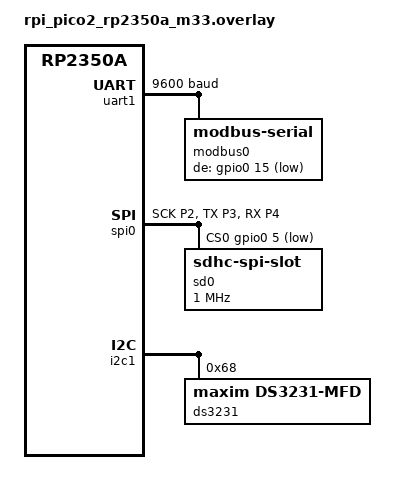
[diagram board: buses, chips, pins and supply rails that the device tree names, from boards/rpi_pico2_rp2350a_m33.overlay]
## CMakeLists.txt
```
# Generated Cmake Pico project file

cmake_minimum_required(VERSION 3.13)

set(CMAKE_C_STANDARD 11)
set(CMAKE_CXX_STANDARD 17)
set(CMAKE_EXPORT_COMPILE_COMMANDS ON)

# Initialise pico_sdk from installed location
# (note this can come from environment, CMake cache etc)

# == DO NOT EDIT THE FOLLOWING LINES for the Raspberry Pi Pico VS Code Extension to work ==
if(WIN32)
    set(USERHOME $ENV{USERPROFILE})
else()
    set(USERHOME $ENV{HOME})
endif()
set(sdkVersion 2.2.0)
set(toolchainVersion 14_2_Rel1)
set(picotoolVersion 2.2.0-a4)
set(picoVscode ${USERHOME}/.pico-sdk/cmake/pico-vscode.cmake)
if(EXISTS ${picoVscode})
    include(${picoVscode})
endif()
# ====================================================================================
set(PICO_BOARD pico CACHE STRING "Board type")

# Pull in Raspberry Pi Pico SDK (must be before project)
include(pico_sdk_import.cmake)

project(smart_meter LANGUAGES C CXX ASM)

# Initialise the Raspberry Pi Pico SDK
pico_sdk_init()

# Add executable. Default name is the project name, version 0.1


set(SMART_METER_ROOT_DIR ${CMAKE_CURRENT_SOURCE_DIR})


set(FREERTOS_KERNEL_PATH "${SMART_METER_ROOT_DIR}/third_party/FreeRTOS-Kernel")

set(FREERTOS_CONFIG_FILE_DIRECTORY "${SMART_METER_ROOT_DIR}/include" CACHE STRING "Local Config")

if(PICO_PLATFORM STREQUAL "rp2040")
    include(${FREERTOS_KERNEL_PATH}/portable/ThirdParty/GCC/RP2040/FreeRTOS_Kernel_import.cmake)
elseif(PICO_PLATFORM STREQUAL "rp2350-arm-s")
    include(${FREERTOS_KERNEL_PATH}/portable/ThirdParty/GCC/RP2350_ARM_NTZ/FreeRTOS_Kernel_import.cmake)
endif()

target_link_libraries(FreeRTOS-Kernel INTERFACE pico_stdlib hardware_clocks cmsis_core)

target_sources(FreeRTOS-Kernel INTERFACE ${SMART_METER_ROOT_DIR}/src/platforms/freertos_port.c)

add_subdirectory(${SMART_METER_ROOT_DIR}/third_party/FreeRTOS-FAT-CLI-for-RPi-Pico/src/FreeRTOS+FAT+CLI ${CMAKE_BINARY_DIR}/FreeRTOS-FAT-CLI-for-RPi-Pico/src/FreeRTOS+FAT+CLI)

add_subdirectory(${SMART_METER_ROOT_DIR}/third_party/memcpy_smart_ptr ${CMAKE_BINARY_DIR}/third_party/memcpy_smart_ptr)
add_subdirectory(src)

add_executable(${PROJECT_NAME} ${CMAKE_CURRENT_SOURCE_DIR}/src/smart_meter.cpp)

target_link_libraries(${PROJECT_NAME} PRIVATE
    pico_stdlib
    smt_utils
    fat_sd_card
    rtc
    pzem004t
    memcpy_smart_ptr
)

target_include_directories(${PROJECT_NAME} PUBLIC
    ${SMART_METER_ROOT_DIR}/include
)

#output options
pico_enable_stdio_usb(${PROJECT_NAME} 1)
pico_enable_stdio_uart(${PROJECT_NAME} 1)

#ouputs .bin, .elf, .uf2 files
pico_add_extra_outputs(${PROJECT_NAME})

set(CMAKE_EXE_LINKER_FLAGS "${CMAKE_EXE_LINKER_FLAGS} -Wl,--print-memory-usage")
```

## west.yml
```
manifest:
  # lowest version of the manifest file schema that can parse this file’s data
  version: 1.2
  remotes:
    - name: zephyrproject-rtos
      url-base: https://github.com/zephyrproject-rtos
  projects:
    - name: zephyr
      remote: zephyrproject-rtos
      revision: v4.3.0
      import:
        path-prefix: third_party
        file: west.yml
        name-allowlist:
          - cmsis
          - cmsis_6
          - hal_rpi_pico
          - fatfs
  self:
    path: smart_meter
```

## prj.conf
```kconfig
# Logging
CONFIG_LOG=y
CONFIG_LOG_DEFAULT_LEVEL=3

# Kernel
CONFIG_MAIN_STACK_SIZE=10240

# Peripherals
CONFIG_GPIO=y
CONFIG_SERIAL=y
CONFIG_SPI=y
CONFIG_I2C=y

# Serial
CONFIG_UART_INTERRUPT_DRIVEN=y
CONFIG_UART_LINE_CTRL=n

# Subsystems
CONFIG_MODBUS=y
CONFIG_SENSOR=y
CONFIG_SHELL=y

# Modbus
CONFIG_CRC=y
CONFIG_MODBUS_BUFFER_SIZE=256
CONFIG_MODBUS_ROLE_CLIENT=y
CONFIG_MODBUS_FP_EXTENSIONS=y
CONFIG_MODBUS_NONCOMPLIANT_SERIAL_MODE=y
CONFIG_MODBUS_RAW_ADU=y

# SD Card
CONFIG_DISK_DRIVER_SDMMC=y

# File System
CONFIG_FILE_SYSTEM=y
CONFIG_FAT_FILESYSTEM_ELM=y
CONFIG_FS_FATFS_LFN=y
CONFIG_FS_FATFS_LFN_MODE_STACK=y
CONFIG_FS_FATFS_MAX_LFN=50

# RTC
CONFIG_MFD_DS3231=y
CONFIG_RTC=y
CONFIG_RTC_DS3231=y

# Sensors
CONFIG_SENSOR_DS3231=y
CONFIG_PZEM004T=y
CONFIG_PZEM004T_ENABLE_RESET_ENERGY=y

# Shell
CONFIG_LOG_CMDS=y
CONFIG_THREAD_NAME=y


# Build System
CONFIG_NO_OPTIMIZATIONS=y
CONFIG_PICOLIBC=y
CONFIG_PICOLIBC_IO_FLOAT=y

# Debugging
CONFIG_KERNEL_SHELL=y
CONFIG_THREAD_NAME=y
CONFIG_THREAD_RUNTIME_STATS=y
CONFIG_THREAD_RUNTIME_STATS_USE_TIMING_FUNCTIONS=y

# Smart Meter
CONFIG_DATE_SHELL=y
CONFIG_BOOT_BANNER_STRING="Starting Switches Smart Meter"
CONFIG_SHELL_PROMPT_UART="switches:~$ "
```

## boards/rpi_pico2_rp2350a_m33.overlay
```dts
/ {
	aliases {
		modbus0 = &modbus0;
	};
};

&uart1 {
	status = "okay";
	current-speed = <9600>;
	modbus0: modbus0 {
		compatible = "zephyr,modbus-serial";
		status = "okay";
		de-gpios = <&gpio0 15 GPIO_ACTIVE_LOW>;	/* D9 */

		pzem: pzem004t {
			compatible = "peacefair,pzem004t";
			status = "okay";
			label = "PZEM004T";
		};
	};
};

&pinctrl {
	spi0_sdcard_pin: spi0_sdcard_pin {
		group1 {
			pinmux = <SPI0_SCK_P2>, <SPI0_TX_P3>;
		};

		group2 {
			pinmux = <SPI0_RX_P4>;
			input-enable;
		};
	};

	i2c1_default: i2c1_default {
		group1 {
			pinmux = <I2C1_SDA_P6>, <I2C1_SCL_P7>;
			input-enable;
			input-schmitt-enable;
		};
	};
	uart0_default: uart0_default {
		group1 {
			pinmux = <UART0_TX_P0>;
		};

		group2 {
			pinmux = <UART0_RX_P1>;
			input-enable;
		};
	};

	uart1_default: uart1_default {
		group1 {
			pinmux = <UART1_TX_P8>;
		};

		group2 {
			pinmux = <UART1_RX_P9>;
			input-enable;
		};
	};

};


&spi0{
	status = "okay";
	pinctrl-0 = <&spi0_sdcard_pin>;
	pinctrl-names = "default";
	// Check if active low or high
	cs-gpios = <&gpio0 5 GPIO_ACTIVE_LOW>;

	sdhc0: sdhc@0 {
		compatible = "zephyr,sdhc-spi-slot";
		reg = <0>;
		status = "okay";
		label = "sd0";
		mmc {
			compatible = "zephyr,sdmmc-disk";
			status = "okay";
			disk-name = "sd0";
		};
		spi-max-frequency = <1000000>;
	};
};


&i2c1 {
	status = "okay";
	pinctrl-0 = <&i2c1_default>;
	pinctrl-names = "default";

	ds3231: ds3231@68 {
		compatible = "maxim,ds3231-mfd";
		reg = <0x68>;
		status = "okay";

		ds3231_sensor: ds3231_sensor {
			compatible = "maxim,ds3231-sensor";
			status = "okay";
		};

		ds3231_rtc: ds3231_rtc {
			compatible = "maxim,ds3231-rtc";
			status = "okay";
			isw-gpios = <&gpio0 25 (GPIO_PULL_UP | GPIO_ACTIVE_LOW)>;
			// freq-32khz-gpios = <&gpio0 33 (GPIO_PULL_UP | GPIO_ACTIVE_LOW)>;
		};
	};
};
```

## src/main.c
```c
#include "zephyr/logging/log_core.h"
#include <stdio.h>
#include <zephyr/kernel.h>
#include <zephyr/drivers/gpio.h>
#include <zephyr/modbus/modbus.h>
#include <zephyr/logging/log.h>

#include <zephyr/fs/fs.h>
#include <ff.h>

#include <zephyr/drivers/rtc.h>
#include <zephyr/sys/util.h>
#include <zephyr/drivers/sensor.h>
#include <zephyr/drivers/sensor/pzem004t.h>
#include <zephyr/storage/disk_access.h>


#define METER_TO_JSON_FORMAT ("\n=BEGIN={\"voltage\":%0.4f,\"current\": %0.4f,\"power\": %0.4f,\"energy\": %0.4f,\"freq\": %0.4f,\"pf\": %0.4f,\"timestamp\": \"%04d-%02d-%02dT%02d:%02d:%02d\"}==END==\n")

const struct device *const rtc = DEVICE_DT_GET(DT_NODELABEL(ds3231_rtc));

LOG_MODULE_REGISTER(smart_meter, LOG_LEVEL_INF);

/* 1000 msec = 1 sec */
#define SLEEP_TIME_MS 1000

/* The devicetree node identifier for the "led0" alias. */
#define LED0_NODE DT_ALIAS(led0)

static const struct gpio_dt_spec led = GPIO_DT_SPEC_GET(LED0_NODE, gpios);
static const struct device *pzem = DEVICE_DT_GET(DT_NODELABEL(pzem));

static FATFS fat_fs;
/* mounting info */
static struct fs_mount_t mp = {
	.type = FS_FATFS,
	.fs_data = &fat_fs,
};

/*
 *  Note the fatfs library is able to mount only strings inside _VOLUME_STRS
 *  in ffconf.h
 */
static const char *disk_mount_pt = "/sd0:";

static int mount_sd_card(void)
{
	/* raw disk i/o */
	static const char *disk_pdrv = "sd0";
	uint64_t memory_size_mb;
	uint32_t block_count;
	uint32_t block_size;

	if (disk_access_init(disk_pdrv) != 0)
	{
		LOG_ERR("Storage init ERROR!");
		return -1;
	}

	mp.mnt_point = disk_mount_pt;

	int res = fs_mount(&mp);

	if (res == FR_OK)
	{
		LOG_INF("Disk mounted.\n");
	}
	else
	{
		LOG_ERR("Failed to mount disk \n");
		return -1;
	}
	return 0;
}

static int set_date_time(const struct device *rtc, const struct rtc_time tm)
{
	int ret = 0;

	ret = rtc_set_time(rtc, &tm);
	if (ret < 0)
	{
		LOG_ERR("Cannot write date time: %d\n", ret);
		return ret;
	}
	return ret;
}

static int get_date_time(const struct device *rtc, struct rtc_time *tm)
{
	int ret = 0;

	ret = rtc_get_time(rtc, tm);
	if (ret < 0)
	{
		LOG_WRN("Cannot read date time: %d\n", ret);
		return ret;
	}
	LOG_DBG("RTC date and time: %04d-%02d-%02d %02d:%02d:%02d\n", tm->tm_year + 1900,
			tm->tm_mon + 1, tm->tm_mday, tm->tm_hour, tm->tm_min, tm->tm_sec);

	return ret;
}

int main(void)
{
	int ret;
	bool led_state = true;

	// if (!device_is_ready(pzem))
	// {
	// 	LOG_ERR("pzem device not ready.\n");
	// 	return 0;
	// }
	/* Check if the RTC is ready */
	if (!device_is_ready(rtc))
	{
		printk("Device is not ready\n");
		return 0;
	}
	if (!gpio_is_ready_dt(&led))
	{
		return 0;
	}

	ret = gpio_pin_configure_dt(&led, GPIO_OUTPUT_ACTIVE);
	if (ret < 0)
	{
		return 0;
	}
	if (mount_sd_card())
	{
		LOG_ERR("Failed to mount SD card\n");
		return -1;
	}
	else
	{
		LOG_INF("Successfully mounted SD card\n");
	}
#ifdef SET_RTC_TIME_FROM_MACHINE
	const struct rtc_time tms = {
		.tm_year = 2026 - 1900,
		.tm_mon = 5 - 1,
		.tm_mday = 24,
		.tm_hour = 13,
		.tm_min = 3,
		.tm_sec = 0,
	};

	set_date_time(rtc, tms);
#endif

	struct sensor_value voltage;
	struct sensor_value current;
	struct sensor_value frequency;
	struct sensor_value energy;
	struct sensor_value power;
	struct sensor_value power_factor;
	struct rtc_time tm;

	// TODO: (matthew) calculate the maximum buffer required for printing.
	char logging_buffer[1000];
	while (1)
	{
		ret = sensor_sample_fetch(pzem);
		if (ret)
		{
			LOG_WRN("sensor_sample_fetch failed ret %d\n", ret);
			// continue;
		}

		ret = get_date_time(rtc, &tm);
		if (ret)
		{
			LOG_WRN("Reading rtc time failed ret %d\n", ret);
			// continue;
		}

		ret = sensor_channel_get(pzem, SENSOR_CHAN_VOLTAGE, &voltage);
		ret = sensor_channel_get(pzem, SENSOR_CHAN_CURRENT, &current);
		ret = sensor_channel_get(pzem, SENSOR_CHAN_POWER, &power);
		ret = sensor_channel_get(pzem, SENSOR_CHAN_FREQUENCY, &frequency);
		ret = sensor_channel_get(pzem, SENSOR_CHAN_PZEM004T_ENERGY, &energy);
		ret = sensor_channel_get(pzem, SENSOR_CHAN_PZEM004T_POWER_FACTOR, &power_factor);
		int needed_size = snprintf(logging_buffer, 1000, METER_TO_JSON_FORMAT, (double)sensor_value_to_float(&voltage), (double)sensor_value_to_float(&current), (double)sensor_value_to_float(&power), (double)sensor_value_to_float(&energy), (double)sensor_value_to_float(&frequency), (double)sensor_value_to_float(&power_factor), tm.tm_year + 1900, tm.tm_mon + 1, tm.tm_mday, tm.tm_hour, tm.tm_min, tm.tm_sec);

		char file_name_buffer[60];
		snprintf(file_name_buffer, sizeof(file_name_buffer), "/sd0:/meter_data_%04d-%02d-%02d.json", tm.tm_year, tm.tm_mon, tm.tm_mday);

		struct fs_file_t data_filp;
		fs_file_t_init(&data_filp);

		ret = fs_open(&data_filp, file_name_buffer, FS_O_WRITE | FS_O_CREATE | FS_O_APPEND);
		if (ret)
		{
			LOG_ERR("%s -- failed to create file (err = %d)\n", __func__, ret);
			goto file_close;
		}
		else
		{
			LOG_INF("%s - successfully created file\n", __func__);
		}

		ret = fs_write(&data_filp, logging_buffer, strlen(logging_buffer));
		if (ret < 0)
		{
			LOG_ERR("%s -- failed to write to file (err = %d)\n", __func__, ret);
			goto file_close;
		}
file_close:
		fs_close(&data_filp);
		k_sleep(K_MSEC(10000));
	}

	return 0;
}
```

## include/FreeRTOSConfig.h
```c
/*
 * FreeRTOS V202111.00
 * Copyright (C) 2020 Amazon.com, Inc. or its affiliates.  All Rights Reserved.
 *
 * Permission is hereby granted, free of charge, to any person obtaining a copy of
 * this software and associated documentation files (the "Software"), to deal in
 * the Software without restriction, including without limitation the rights to
 * use, copy, modify, merge, publish, distribute, sublicense, and/or sell copies of
 * the Software, and to permit persons to whom the Software is furnished to do so,
 * subject to the following conditions:
 *
 * The above copyright notice and this permission notice shall be included in all
 * copies or substantial portions of the Software.
 *
 * THE SOFTWARE IS PROVIDED "AS IS", WITHOUT WARRANTY OF ANY KIND, EXPRESS OR
 * IMPLIED, INCLUDING BUT NOT LIMITED TO THE WARRANTIES OF MERCHANTABILITY, FITNESS
 * FOR A PARTICULAR PURPOSE AND NONINFRINGEMENT. IN NO EVENT SHALL THE AUTHORS OR
 * COPYRIGHT HOLDERS BE LIABLE FOR ANY CLAIM, DAMAGES OR OTHER LIABILITY, WHETHER
 * IN AN ACTION OF CONTRACT, TORT OR OTHERWISE, ARISING FROM, OUT OF OR IN
 * CONNECTION WITH THE SOFTWARE OR THE USE OR OTHER DEALINGS IN THE SOFTWARE.
 *
 * http://www.FreeRTOS.org
 * http://aws.amazon.com/freertos
 *
 * 1 tab == 4 spaces!
 */

#ifndef FREERTOS_CONFIG_H
#define FREERTOS_CONFIG_H

/*-----------------------------------------------------------
 * Application specific definitions.
 *
 * These definitions should be adjusted for your particular hardware and
 * application requirements.
 *
 * THESE PARAMETERS ARE DESCRIBED WITHIN THE 'CONFIGURATION' SECTION OF THE
 * FreeRTOS API DOCUMENTATION AVAILABLE ON THE FreeRTOS.org WEB SITE.
 *
 * See http://www.freertos.org/a00110.html
 *----------------------------------------------------------*/
#define configUSE_PASSIVE_IDLE_HOOK 0
#define configKERNEL_PROVIDED_STATIC_MEMORY 0
/* Scheduler Related */
#define configUSE_PREEMPTION 1
#define configUSE_TICKLESS_IDLE 0
#define configUSE_IDLE_HOOK 0
#define configUSE_TICK_HOOK 0
#define configTICK_RATE_HZ ((TickType_t)1000)
#define configMAX_PRIORITIES 32
#define configMINIMAL_STACK_SIZE (configSTACK_DEPTH_TYPE)256
#define configUSE_16_BIT_TICKS 0

#define configIDLE_SHOULD_YIELD 1

/* Synchronization Related */
#define configUSE_MUTEXES 1
#define configUSE_RECURSIVE_MUTEXES 1
#define configUSE_APPLICATION_TASK_TAG 0
#define configUSE_COUNTING_SEMAPHORES 1
#define configQUEUE_REGISTRY_SIZE 8
#define configUSE_QUEUE_SETS 1
#define configUSE_TIME_SLICING 1
#define configUSE_NEWLIB_REENTRANT 0
// todo need this for lwip FreeRTOS sys_arch to compile
#define configENABLE_BACKWARD_COMPATIBILITY 1
#define configNUM_THREAD_LOCAL_STORAGE_POINTERS 5

/* System */
#define configSTACK_DEPTH_TYPE uint32_t
#define configMESSAGE_BUFFER_LENGTH_TYPE size_t

/* Memory allocation related definitions. */
#define configSUPPORT_STATIC_ALLOCATION 1
#define configSUPPORT_DYNAMIC_ALLOCATION 1
#define configTOTAL_HEAP_SIZE (128 * 1024)
#define configAPPLICATION_ALLOCATED_HEAP 0

/* Hook function related definitions. */
#define configCHECK_FOR_STACK_OVERFLOW 0
#define configUSE_MALLOC_FAILED_HOOK 0
#define configUSE_DAEMON_TASK_STARTUP_HOOK 0

/* Run time and task stats gathering related definitions. */
#define configGENERATE_RUN_TIME_STATS 1
#define configUSE_TRACE_FACILITY 1
#define configUSE_STATS_FORMATTING_FUNCTIONS 1

/* Co-routine related definitions. */
#define configUSE_CO_ROUTINES 0
#define configMAX_CO_ROUTINE_PRIORITIES 1

/* Software timer related definitions. */
#define configUSE_TIMERS 1
#define configTIMER_TASK_PRIORITY (configMAX_PRIORITIES - 1)
#define configTIMER_QUEUE_LENGTH 10
#define configTIMER_TASK_STACK_DEPTH 1024

/* Interrupt nesting behaviour configuration. */
/*
#define configKERNEL_INTERRUPT_PRIORITY         [dependent of processor]
#define configMAX_SYSCALL_INTERRUPT_PRIORITY    [dependent on processor and application]
#define configMAX_API_CALL_INTERRUPT_PRIORITY   [dependent on processor and application]
*/

#if FREE_RTOS_KERNEL_SMP // set by the RP2040 SMP port of FreeRTOS
/* SMP port only */
#define configNUMBER_OF_CORES 2
#define configTICK_CORE 0
#define configRUN_MULTIPLE_PRIORITIES 1
#define configUSE_CORE_AFFINITY 1
#endif

/* RP2040 specific */
#define configSUPPORT_PICO_SYNC_INTEROP 1
#define configSUPPORT_PICO_TIME_INTEROP 1

#include <assert.h>
/* Define to trap errors during development. */
#define configASSERT(x) assert(x)

/* Set the following definitions to 1 to include the API function, or zero
to exclude the API function. */
#define INCLUDE_vTaskPrioritySet 1
#define INCLUDE_uxTaskPriorityGet 1
#define INCLUDE_vTaskDelete 1
#define INCLUDE_vTaskSuspend 1
#define INCLUDE_vTaskDelayUntil 1
#define INCLUDE_vTaskDelay 1
#define INCLUDE_xTaskGetSchedulerState 1
#define INCLUDE_xTaskGetCurrentTaskHandle 1
#define INCLUDE_uxTaskGetStackHighWaterMark 1
#define INCLUDE_xTaskGetIdleTaskHandle 1
#define INCLUDE_eTaskGetState 1
#define INCLUDE_xTimerPendFunctionCall 1
#define INCLUDE_xTaskAbortDelay 1
#define INCLUDE_xTaskGetHandle 1
#define INCLUDE_xTaskResumeFromISR 1
#define INCLUDE_xQueueGetMutexHolder 1

/* A header file that defines trace macro can be included here. */

#if defined(PICO_RP2040) || defined(PICO_PR2350)
#include "RP2040.h"

#define portCONFIGURE_TIMER_FOR_RUN_TIME_STATS()

#ifdef __cplusplus
extern "C"
{
#endif

    uint64_t time_us_64(void);

#ifdef __cplusplus
}
#endif
#define portGET_RUN_TIME_COUNTER_VALUE() (time_us_64() / 100)
#endif



#define configTASK_NOTIFICATION_ARRAY_ENTRIES   4

#endif /* FREERTOS_CONFIG_H */
```

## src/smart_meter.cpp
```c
#include "smt_utils.h"

#include <cstdio>

#include <string>

#include "pico/stdlib.h"

#include "FreeRTOS.h"
#include "task.h"

#include "memcpy_unique_pointer.h"

#include "fat_sd_card.h"
#include "rtc.h"
#include "pzem004t.h"

#define METER_TO_JSON_FORMAT ("\n=BEGIN={\"voltage\":%0.4f,\"current\": %0.4f,\"power\": %0.4f,\"energy\": %0.4f,\"freq\": %0.4f,\"pf\": %0.4f,\"timestamp\": \"%04d-%02d-%02dT%02d:%02d:%02d\"}==END==\n")
using std::string;

// Start blink task
TaskHandle_t taskSensor;
TaskHandle_t taskStorage;
QueueHandle_t sensorToStorageQueue;

void sensorTask(void *para)
{

    printf("\n=== IoT Air Quality Board ===\n");

    // Initialize hardware modules
    printf("Initialising sensors..\n");
    PZEM004Tv30 meter{uart1, 1};
    meter.init(8, 9, 9600);
    printf("\nSystem Ready.\n\n");
    TickType_t xLastWakeTime = xTaskGetTickCount();

    PZEM004Tv30Data previousData;

    while (true)
    {
        memcpy_unique_ptr<string> data_str_p = make_memcpy_unique_ptr<string>("");

        PZEM004Tv30Data data;

        if (!meter.updateValues(&data))
        {
            data.current = 0.0f;
            data.voltage = 0.0f;
            data.power = 0.0f;
            data.freq = 0.0f;
            data.pf = 0.0f;
            // Set data to last value as it is monotonically increasing.
            data.energy = previousData.energy;
        }
        else
        {
            previousData = data;
        }

        datetime_t dt;
        IAQ_RTC::get_time(&dt);

        int needed_size = sprintf(nullptr, METER_TO_JSON_FORMAT, data.voltage, data.current, data.power, data.energy, data.freq, data.pf, dt.year, dt.month, dt.day, dt.hour, dt.min, dt.sec);

        data_str_p->resize(needed_size + 1);
        sprintf(data_str_p->data(), METER_TO_JSON_FORMAT, data.voltage, data.current, data.power, data.energy, data.freq, data.pf, dt.year, dt.month, dt.day, dt.hour, dt.min, dt.sec);

        printf("%s\n", data_str_p->data());
        data_str_p.memcpy_send(nullptr, [](void *, const memcpy_unique_ptr<string> *src)
                               { return xQueueSend(sensorToStorageQueue, src, 0) == pdTRUE; });
        vTaskDelayUntil(&xLastWakeTime, pdMS_TO_TICKS(1000 * 10));
    }
}

void storageTask(void *para)
{
    configASSERT_PANIC(fat_sd_card_init(false));

    while (1)
    {
        memcpy_unique_ptr<string> data_str_p{};

        data_str_p.memcpy_receive(nullptr, [](memcpy_unique_ptr<string> *dest, const void *const src)
                                  { return xQueueReceive(sensorToStorageQueue, dest, portMAX_DELAY) == pdTRUE; });
        datetime_t dt;
        IAQ_RTC::get_time(&dt);
        char file_name_buffer[60];
        snprintf(file_name_buffer, sizeof(file_name_buffer), "/sd0/meter_data_%04d-%02d-%02d.json", dt.year, dt.month, dt.day);
        FF_FILE *file = fat_sd_card_open(file_name_buffer, "a");
        fat_sd_card_write(data_str_p->c_str(), data_str_p->length(), file);
        fat_sd_card_close(file);
    }
    fat_sd_card_deinit();
}

int main()
{
    // Initialise standard I/O
    stdio_init_all();
    IAQ_RTC::init();

    sensorToStorageQueue = xQueueCreate(1, sizeof(memcpy_unique_ptr<string>));

    configASSERT_PANIC(pdPASS != xTaskCreate(sensorTask, "sensorThread", 1024 * 4, NULL, 2, &taskSensor));

    configASSERT_PANIC(pdPASS != xTaskCreate(storageTask, "storageThread", 1024 * 4, NULL, 2, &taskStorage));

    /* Start the tasks and timer running. */
    vTaskStartScheduler();

    return 0;
}
```
